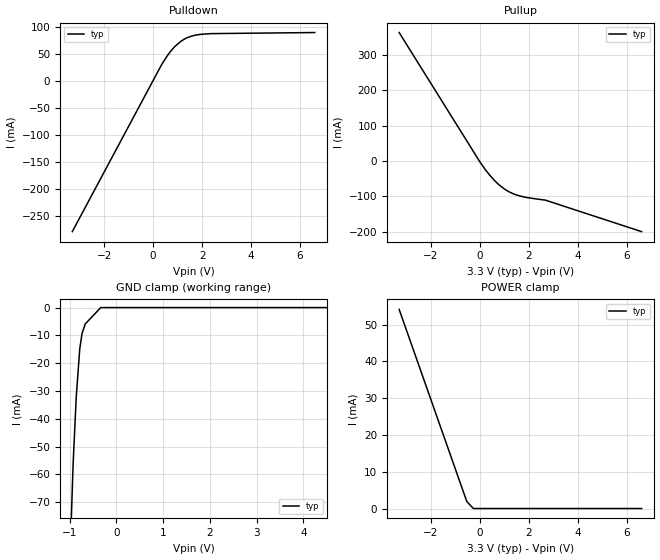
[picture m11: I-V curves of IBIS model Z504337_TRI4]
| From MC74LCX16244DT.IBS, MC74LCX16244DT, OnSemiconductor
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| (C) COPYRIGHT 1993-2000
| MENTOR GRAPHICS CORPORATION
| ICX STANDARD LIBRARY, ICX PROJECT MODELING,
| ICX CUSTOM MODELING, ICX VENDOR MODEL
| ALL RIGHTS RESERVED.
| THE FOLLOWING ARE TRADEMARKS OR SERVICE MARKS OF
| MENTOR GRAPHICS CORPORATION:ICX (R), ICX STANDARD
| LIBRARY(R), ICX PROJECT MODELING(R), ICX CUSTOM
| MODELING(R), qualityIBIS(TM), MODELVIEWER(TM),
| AND MODELEDITOR(TM)
| ALL COPIES OF SOFTWARE, INCLUDING BUT NOT LIMITED TO
| ANY MODIFICATIONS, ENHANCEMENTS OR DERIVATIVE WORKS,
| MUST CONTAIN ALL MENTOR GRAPHICS CORPORATION'S
| NOTICES AND LEGENDS, INCLUDING THOSE EMBEDDED IN
| SOFTWARE AND THOSE AFFIXED TO SOFTWARE MEDIUM
| AND CONTAINER, AS RECEIVED FROM MENTOR GRAPHICS
| CORPORATION.
| Model Application Version 1.89 2/18/99.
[Model] Z504337_TRI4
Model_type 3-state
Vref=0.000V
Rref=500.0ohms
Cref=50.00pF
Vmeas=1.500V
C_comp 8.000pF NA NA
| variable typ   min   max
[Voltage Range] 3.300V NA NA
[POWER Clamp Reference] 3.300V NA NA
[Pullup Reference] 3.300V NA NA
[Pulldown Reference] 0.000V NA NA
[GND Clamp Reference] 0.000V NA NA
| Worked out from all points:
|   slope of the pulldown table from 0 to 0.495 V, typ, clamps not added: 12.4 ohm
|   slope of the pullup table from 0 to 0.495 V, typ, clamps not added: 11.1 ohm
[GND Clamp]
-3.3V     -1.275A    NA         NA
-922.6mV  -56.13mA   NA         NA
-856.4mV  -32.23mA   NA         NA
-781mV    -14.86mA   NA         NA
-732.4mV  -9.3mA     NA         NA
-664.1mV  -5.899mA   NA         NA
-332mV    0A         NA         NA
6.6V      0A         NA         NA
[Pulldown]
-3.3V     -279mA     NA         NA
338.1mV   28.79mA    NA         NA
727.5mV   54.94mA    NA         NA
875.2mV   62.61mA    NA         NA
1.128V    72.54mA    NA         NA
1.538V    81.83mA    NA         NA
2.131V    86.31mA    NA         NA
6.6V      88.94mA    NA         NA
[Pullup]
-3.3V     362.2mA    NA         NA
14mV      -4.457mA   NA         NA
394mV     -39.68mA   NA         NA
781mV     -67.51mA   NA         NA
1.144V    -85.24mA   NA         NA
1.493V    -95.99mA   NA         NA
1.886V    -102.7mA   NA         NA
2.658V    -110.2mA   NA         NA
6.6V      -199.3mA   NA         NA
[POWER Clamp]
-3.3V     54.13mA    NA         NA
-538mV    1.899mA    NA         NA
-269mV    0A         NA         NA
6.6V      0A         NA         NA
[Ramp]
| variable typ min max
dV/dt_r 1.960/265.2p NA NA
dV/dt_f 1.960/488.1p NA NA
R_load = 500.0Ohms
